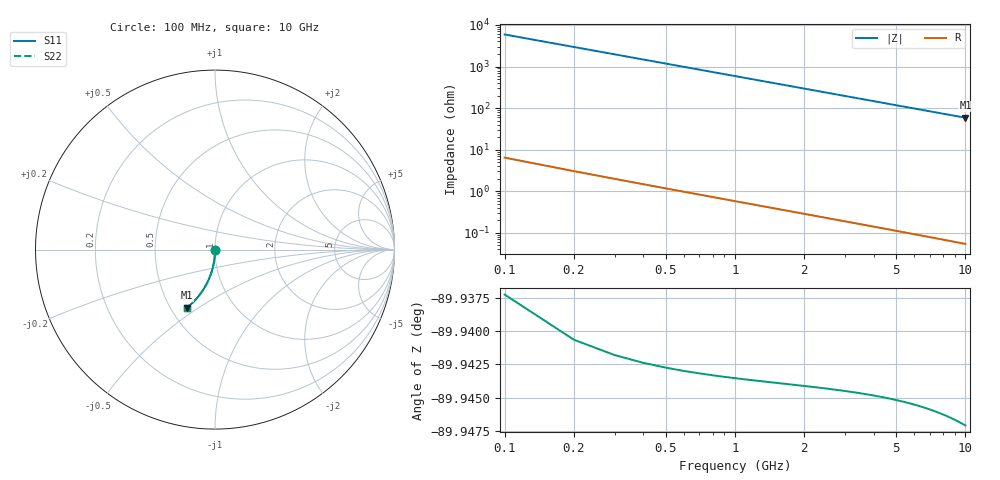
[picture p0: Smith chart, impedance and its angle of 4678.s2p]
# Hz S RI R 50.00
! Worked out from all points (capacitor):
!   100 points, 100 MHz to 10 GHz, reference 50 ohm
!   read as one part in shunt: C = 270 fF near 100 MHz
!   lowest |Z| = 58.8 ohm at 10 GHz (marker M1)
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1e8  0.000115 -0.00384  0.9998 -0.00464  0.9998 -0.00464  0.000115 -0.00384
2e8  5.8e-05 -0.00768  0.9998 -0.00929  0.9998 -0.00929  5.8e-05 -0.00768
3e8  -3.47e-05 -0.0115  0.9997 -0.0139  0.9997 -0.0139  -3.47e-05 -0.0115
4e8  -0.000163 -0.0154  0.9996 -0.0186  0.9996 -0.0186  -0.000163 -0.0154
5e8  -0.000327 -0.0192  0.9994 -0.0232  0.9994 -0.0232  -0.000327 -0.0192
6e8  -0.000527 -0.023  0.9992 -0.0279  0.9992 -0.0279  -0.000527 -0.023
7e8  -0.000763 -0.0269  0.9989 -0.0325  0.9989 -0.0325  -0.000763 -0.0269
8e8  -0.00103 -0.0307  0.9987 -0.0371  0.9987 -0.0371  -0.00103 -0.0307
9e8  -0.00134 -0.0345  0.9984 -0.0418  0.9984 -0.0418  -0.00134 -0.0345
1.1e9  -0.00206 -0.0422  0.9976 -0.051  0.9976 -0.051  -0.00206 -0.0422
1.4e9  -0.00341 -0.0536  0.9962 -0.0649  0.9962 -0.0649  -0.00341 -0.0536
1.8e9  -0.00569 -0.0688  0.9939 -0.0833  0.9939 -0.0833  -0.00569 -0.0688
2.1e9  -0.00778 -0.0801  0.9918 -0.097  0.9918 -0.097  -0.00778 -0.0801
2.5e9  -0.011 -0.0951  0.9885 -0.1152  0.9885 -0.1152  -0.011 -0.0951
2.9e9  -0.0148 -0.1099  0.9846 -0.1332  0.9846 -0.1332  -0.0148 -0.1099
3.4e9  -0.0203 -0.1281  0.979 -0.1555  0.979 -0.1555  -0.0203 -0.1281
4.2e9  -0.0308 -0.1566  0.9683 -0.1905  0.9683 -0.1905  -0.0308 -0.1566
5.1e9  -0.045 -0.1874  0.9539 -0.2286  0.9539 -0.2286  -0.045 -0.1874
5.9e9  -0.0595 -0.2135  0.9391 -0.2612  0.9391 -0.2612  -0.0595 -0.2135
6.7e9  -0.0756 -0.2382  0.9226 -0.2925  0.9226 -0.2925  -0.0756 -0.2382
8.4e9  -0.1147 -0.2855  0.8827 -0.3539  0.8827 -0.3539  -0.1147 -0.2855
1e10  -0.156 -0.3232  0.8403 -0.4049  0.8403 -0.4049  -0.156 -0.3232
